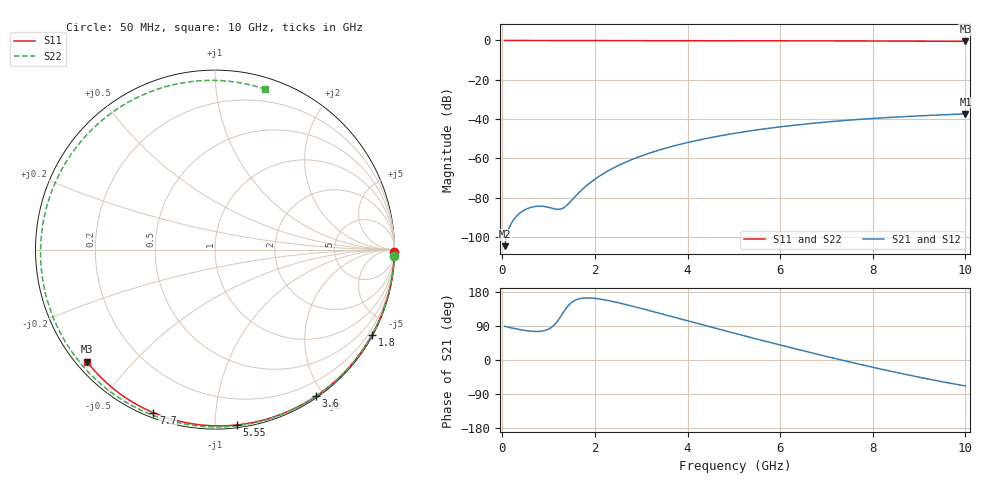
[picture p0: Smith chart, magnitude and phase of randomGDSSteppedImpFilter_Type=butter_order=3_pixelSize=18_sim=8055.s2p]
! freq	dB(S11)	phase(S11)	dB(S12)	phase(S12)
!  dB(S21)	phase(S21)	dB(S22)	phase(S22)
!S-par simulation data
#  GHz  S  DB  R 50
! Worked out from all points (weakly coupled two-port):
!   200 points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, 50 MHz to 10 GHz, reference 50 ohm
!   highest |S21| = -37.39 dB at 10 GHz (marker M1); lowest = -104.8 dB at 50 MHz (marker M2)
!   lowest |S11| = -0.5 dB at 10 GHz (marker M3), VSWR 37.16, Z = 1.54 - j18.8 ohm
!   |S11| at or under -10 dB: nowhere
!   |S22| runs from -0.6 to 0.0 dB; largest |S21 - S12| = 0
!   S11 on the Smith chart (normalised r, x): 50 MHz: open; 1.8 GHz: 0.03, -3.94; 3.6 GHz: 0.02, -1.90; 5.55 GHz: 0.02, -1.13; 7.7 GHz: 0.02, -0.69; 10 GHz: 0.03, -0.38
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0.05  -0.00 -0.8  -104.76 88.8  -104.76 88.8  -0.00 -2.0
0.4  -0.01 -6.4  -87.52 79.8  -87.52 79.8  -0.02 -15.7
0.75  -0.02 -12.0  -84.44 75.3  -84.44 75.3  -0.04 -29.2
1.15  -0.02 -18.3  -85.88 96.0  -85.88 96.0  -0.06 -44.2
1.55  -0.03 -24.6  -80.08 156.2  -80.08 156.2  -0.07 -58.7
1.75  -0.04 -27.7  -75.37 163.4  -75.37 163.4  -0.08 -65.7
1.8  -0.04 -28.5  -74.33 163.8  -74.33 163.8  -0.08 -67.5
2.1  -0.04 -33.1  -69.04 161.0  -69.04 161.0  -0.09 -77.6
2.45  -0.05 -38.4  -64.34 152.6  -64.34 152.6  -0.10 -89.0
2.9  -0.06 -45.2  -59.71 139.2  -59.71 139.2  -0.12 -102.9
3.4  -0.07 -52.6  -55.73 123.1  -55.73 123.1  -0.14 -117.4
3.6  -0.07 -55.6  -54.37 116.6  -54.37 116.6  -0.14 -123.0
4.35  -0.09 -66.3  -50.17 92.0  -50.17 92.0  -0.17 -143.1
5.05  -0.12 -76.1  -47.15 69.4  -47.15 69.4  -0.20 -160.7
5.55  -0.14 -82.9  -45.38 53.5  -45.38 53.5  -0.23 -173.0
6.1  -0.16 -90.2  -43.72 36.5  -43.72 36.5  -0.26 173.8
6.7  -0.19 -98.0  -42.19 18.3  -42.19 18.3  -0.30 159.3
7.2  -0.22 -104.4  -41.12 3.5  -41.12 3.5  -0.34 147.1
7.7  -0.25 -110.7  -40.21 -10.8  -40.21 -10.8  -0.37 134.6
8.35  -0.30 -118.7  -39.22 -28.7  -39.22 -28.7  -0.42 117.9
9.2  -0.38 -129.1  -38.19 -50.3  -38.19 -50.3  -0.49 95.1
10  -0.47 -138.7  -37.39 -68.5  -37.39 -68.5  -0.57 72.7
